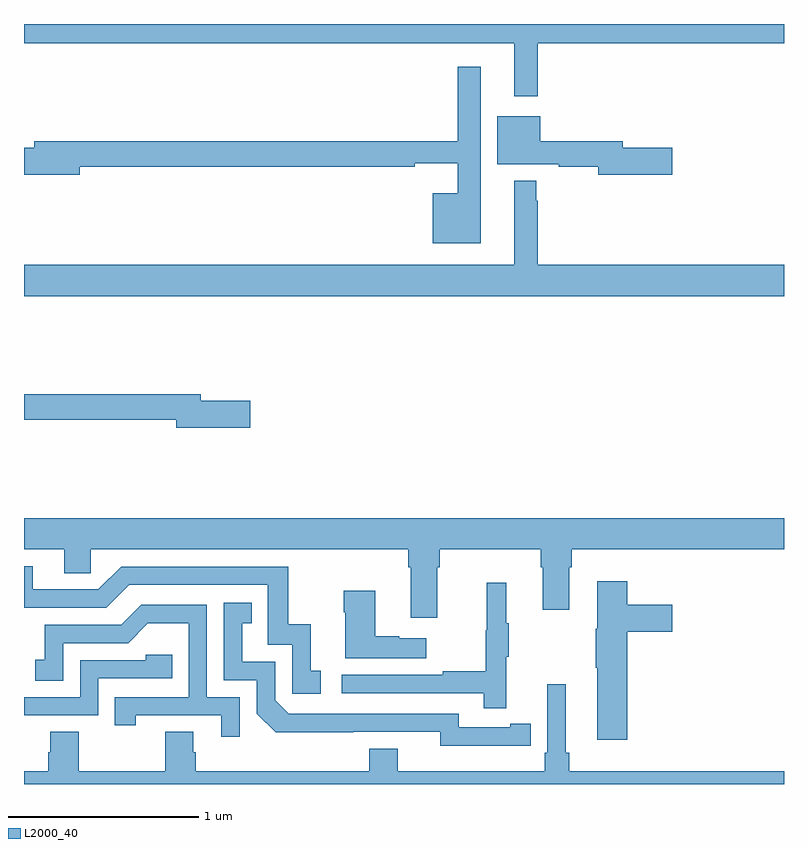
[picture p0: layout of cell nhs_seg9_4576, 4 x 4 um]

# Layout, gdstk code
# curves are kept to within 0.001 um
import gdstk
lib = gdstk.Library(unit=1e-6, precision=1e-09)
def P(c, l, *ps):  # polygons
    for p in ps: c.add(gdstk.Polygon(p, *l))
L2000_40 = (2000, 40)

nhs_seg9_4576 = lib.new_cell('nhs_seg9_4576')
P(nhs_seg9_4576, L2000_40, [(375.703,1216.4),(377,1216.4),(377,1216.5),(373,1216.5),(373,1216.4),(375.581,1216.4),(375.581,1216.119),(375.703,1216.119)],
  [(375.403,1216.276),(375.282,1216.276),(375.282,1215.884),(373.055,1215.884),(373.055,1215.848),(373,1215.848),(373,1215.706),(373.294,1215.706),(373.294,1215.748),(375.056,1215.748),(375.056,1215.767),(375.282,1215.767),(375.282,1215.61),(375.152,1215.61),(375.152,1215.347),(375.403,1215.347)],
  [(376.411,1215.848),(376.15,1215.848),(376.15,1215.884),(375.718,1215.884),(375.718,1216.015),(375.491,1216.015),(375.491,1215.761),(375.814,1215.761),(375.814,1215.748),(376.022,1215.748),(376.022,1215.706),(376.411,1215.706)],
  [(377,1215.232),(375.703,1215.232),(375.703,1215.569),(375.696,1215.569),(375.696,1215.676),(375.581,1215.676),(375.581,1215.232),(373,1215.232),(373,1215.068),(377,1215.068)],
  [(374.191,1214.516),(373.93,1214.516),(373.93,1214.552),(373,1214.552),(373,1214.416),(373.802,1214.416),(373.802,1214.374),(374.191,1214.374)],
  [(373,1213.736),(373.211,1213.736),(373.211,1213.609),(373.35,1213.609),(373.35,1213.736),(375.023,1213.736),(375.023,1213.64),(375.035,1213.64),(375.035,1213.374),(375.175,1213.374),(375.175,1213.64),(375.188,1213.64),(375.188,1213.736),(375.719,1213.736),(375.719,1213.64),(375.731,1213.64),(375.731,1213.416),(375.871,1213.416),(375.871,1213.64),(375.884,1213.64),(375.884,1213.736),(377,1213.736),(377,1213.9),(373,1213.9)],
  [(374.563,1213.095),(374.51,1213.095),(374.51,1213.342),(374.392,1213.342),(374.392,1213.644),(373.512,1213.644),(373.392,1213.524),(373.045,1213.524),(373.045,1213.647),(373,1213.647),(373,1213.428),(373.434,1213.428),(373.554,1213.548),(374.283,1213.548),(374.283,1213.233),(374.412,1213.233),(374.412,1212.975),(374.563,1212.975)],
  [(376.175,1213.301),(376.411,1213.301),(376.411,1213.443),(376.175,1213.443),(376.175,1213.567),(376.016,1213.567),(376.016,1213.317),(376.009,1213.317),(376.009,1213.111),(376.016,1213.111),(376.016,1212.732),(376.175,1212.732)],
  [(375.539,1213.171),(375.55,1213.171),(375.55,1213.345),(375.539,1213.345),(375.539,1213.558),(375.436,1213.558),(375.436,1213.308),(375.429,1213.308),(375.429,1213.094),(375.205,1213.094),(375.205,1213.074),(374.673,1213.074),(374.673,1212.978),(375.421,1212.978),(375.421,1212.9),(375.539,1212.9)],
  [(375.118,1213.267),(374.975,1213.267),(374.975,1213.277),(374.848,1213.277),(374.848,1213.516),(374.683,1213.516),(374.683,1213.403),(374.69,1213.403),(374.69,1213.163),(375.118,1213.163)],
  [(375.56,1212.702),(375.668,1212.702),(375.668,1212.818),(375.56,1212.818),(375.56,1212.798),(375.288,1212.798),(375.288,1212.87),(374.394,1212.87),(374.322,1212.942),(374.322,1213.143),(374.149,1213.143),(374.149,1213.347),(374.198,1213.347),(374.198,1213.453),(374.052,1213.453),(374.052,1213.047),(374.226,1213.047),(374.226,1212.87),(374.324,1212.773),(375.192,1212.774),(375.192,1212.701)],
  [(374.136,1212.957),(373.962,1212.957),(373.962,1213.443),(373.616,1213.443),(373.511,1213.338),(373.108,1213.338),(373.108,1213.153),(373.059,1213.153),(373.059,1213.044),(373.206,1213.044),(373.206,1213.242),(373.548,1213.242),(373.652,1213.346),(373.866,1213.346),(373.866,1212.957),(373.477,1212.957),(373.477,1212.81),(373.588,1212.81),(373.588,1212.861),(374.039,1212.861),(374.039,1212.75),(374.136,1212.75)],
  [(373.392,1213.056),(373.781,1213.056),(373.781,1213.179),(373.641,1213.179),(373.641,1213.152),(373.296,1213.152),(373.296,1212.957),(373,1212.957),(373,1212.861),(373.392,1212.861)],
  [(377,1212.568),(375.869,1212.568),(375.869,1212.664),(375.85,1212.664),(375.85,1213.024),(375.753,1213.024),(375.753,1212.664),(375.74,1212.664),(375.74,1212.568),(374.968,1212.568),(374.968,1212.685),(374.816,1212.685),(374.816,1212.568),(373.904,1212.568),(373.904,1212.666),(373.891,1212.666),(373.891,1212.776),(373.744,1212.776),(373.744,1212.568),(373.287,1212.568),(373.287,1212.776),(373.139,1212.776),(373.139,1212.666),(373.127,1212.666),(373.127,1212.568),(373,1212.568),(373,1212.5),(377,1212.5)])

lib.write_gds('nhs_seg9_4576.gds')
